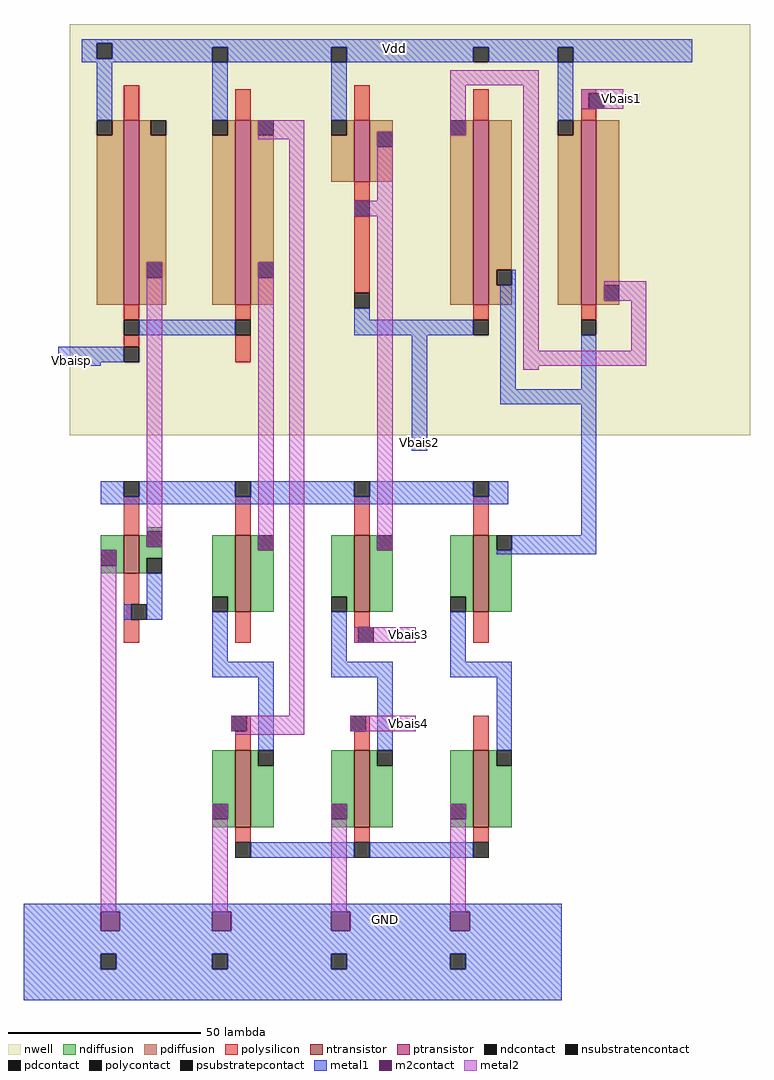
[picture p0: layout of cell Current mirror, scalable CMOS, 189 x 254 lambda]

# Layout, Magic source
magic
tech scmos
<< nwell >>
rect -48 11 129 118
<< ntransistor >>
rect -34 -25 -30 -15
rect -5 -35 -1 -15
rect 26 -35 30 -15
rect 57 -35 61 -15
rect -5 -91 -1 -71
rect 26 -91 30 -71
rect 57 -91 61 -71
<< ptransistor >>
rect -34 45 -30 93
rect -5 45 -1 93
rect 26 77 30 93
rect 57 45 61 93
rect 85 45 89 93
<< ndiffusion >>
rect -28 -14 -24 -13
rect -40 -19 -34 -15
rect -36 -23 -34 -19
rect -40 -25 -34 -23
rect -30 -18 -28 -15
rect -30 -21 -24 -18
rect -30 -25 -28 -21
rect -11 -31 -5 -15
rect -7 -35 -5 -31
rect -1 -19 1 -15
rect -1 -35 5 -19
rect 20 -31 26 -15
rect 24 -35 26 -31
rect 30 -19 32 -15
rect 30 -35 36 -19
rect 51 -31 57 -15
rect 55 -35 57 -31
rect 61 -19 63 -15
rect 61 -35 67 -19
rect -11 -85 -5 -71
rect -7 -89 -5 -85
rect -11 -91 -5 -89
rect -1 -75 1 -71
rect -1 -91 5 -75
rect 20 -85 26 -71
rect 24 -89 26 -85
rect 20 -91 26 -89
rect 30 -75 32 -71
rect 30 -91 36 -75
rect 51 -85 57 -71
rect 55 -89 57 -85
rect 51 -91 57 -89
rect 61 -75 63 -71
rect 61 -91 67 -75
<< pdiffusion >>
rect -37 89 -34 93
rect -41 45 -34 89
rect -30 89 -27 93
rect -30 56 -23 89
rect -30 52 -28 56
rect -24 52 -23 56
rect -30 45 -23 52
rect -7 89 -5 93
rect -11 45 -5 89
rect -1 89 1 93
rect -1 56 5 89
rect 24 89 26 93
rect 20 77 26 89
rect 30 90 36 93
rect 30 86 32 90
rect 30 77 36 86
rect 55 89 57 93
rect -1 52 1 56
rect -1 45 5 52
rect 51 45 57 89
rect 61 54 67 93
rect 61 50 63 54
rect 61 45 67 50
rect 83 89 85 93
rect 79 45 85 89
rect 89 50 95 93
rect 89 46 91 50
rect 89 45 95 46
<< ndcontact >>
rect -40 -23 -36 -19
rect -28 -18 -24 -14
rect -28 -25 -24 -21
rect -11 -35 -7 -31
rect 1 -19 5 -15
rect 20 -35 24 -31
rect 32 -19 36 -15
rect 51 -35 55 -31
rect 63 -19 67 -15
rect -11 -89 -7 -85
rect 1 -75 5 -71
rect 20 -89 24 -85
rect 32 -75 36 -71
rect 51 -89 55 -85
rect 63 -75 67 -71
<< pdcontact >>
rect -41 89 -37 93
rect -27 89 -23 93
rect -28 52 -24 56
rect -11 89 -7 93
rect 1 89 5 93
rect 20 89 24 93
rect 32 86 36 90
rect 51 89 55 93
rect 1 52 5 56
rect 63 50 67 54
rect 79 89 83 93
rect 91 46 95 50
<< psubstratepcontact >>
rect -40 -128 -36 -124
rect -11 -128 -7 -124
rect 20 -128 24 -124
rect 51 -128 55 -124
<< nsubstratencontact >>
rect -41 109 -37 113
rect -11 108 -7 112
rect 20 108 24 112
rect 57 108 61 112
rect 79 108 83 112
<< polysilicon >>
rect -34 93 -30 102
rect -5 93 -1 101
rect 26 93 30 102
rect 57 93 61 101
rect 85 100 89 101
rect 85 96 87 100
rect 85 93 89 96
rect 26 72 30 77
rect 26 48 30 68
rect -34 41 -30 45
rect -34 34 -30 37
rect -5 41 -1 45
rect 57 41 61 45
rect 85 41 89 45
rect -5 30 -1 37
rect -34 -15 -30 -5
rect -5 -15 -1 -5
rect 26 -15 30 -5
rect 57 -15 61 -5
rect -34 -33 -30 -25
rect -34 -37 -32 -33
rect -34 -43 -30 -37
rect -5 -43 -1 -35
rect 26 -39 30 -35
rect 26 -43 27 -39
rect 57 -43 61 -35
rect -2 -66 -1 -62
rect 29 -66 30 -62
rect -5 -71 -1 -66
rect 26 -71 30 -66
rect 57 -71 61 -62
rect -5 -95 -1 -91
rect 26 -95 30 -91
rect 57 -95 61 -91
<< polycontact >>
rect 87 96 91 100
rect 26 68 30 72
rect -34 37 -30 41
rect -34 30 -30 34
rect 26 44 30 48
rect -5 37 -1 41
rect 57 37 61 41
rect 85 37 89 41
rect -34 -5 -30 -1
rect -5 -5 -1 -1
rect 26 -5 30 -1
rect 57 -5 61 -1
rect -32 -37 -28 -33
rect 27 -43 31 -39
rect -6 -66 -2 -62
rect 25 -66 29 -62
rect -5 -99 -1 -95
rect 26 -99 30 -95
rect 57 -99 61 -95
<< metal1 >>
rect -45 113 114 114
rect -45 109 -41 113
rect -37 112 114 113
rect -37 109 -11 112
rect -45 108 -11 109
rect -7 108 20 112
rect 24 108 57 112
rect 61 108 79 112
rect 83 108 114 112
rect -41 93 -37 108
rect -11 93 -7 108
rect 20 93 24 108
rect 79 93 83 108
rect 67 50 68 54
rect 26 41 30 44
rect -30 37 -5 41
rect 26 37 57 41
rect -51 30 -34 34
rect -51 29 -40 30
rect 41 7 45 37
rect 64 23 68 50
rect 85 23 89 37
rect 64 19 89 23
rect -40 -5 -34 -1
rect -30 -5 -5 -1
rect -1 -5 26 -1
rect 30 -5 57 -1
rect 61 -5 66 -1
rect -40 -7 66 -5
rect 85 -15 89 19
rect 67 -19 89 -15
rect 63 -20 89 -19
rect -34 -37 -32 -33
rect -28 -37 -24 -25
rect -11 -48 -7 -35
rect 20 -48 24 -35
rect 51 -48 55 -35
rect -11 -52 5 -48
rect 20 -52 36 -48
rect 51 -52 67 -48
rect 1 -71 5 -52
rect 32 -71 36 -52
rect 63 -71 67 -52
rect -1 -99 26 -95
rect 30 -99 57 -95
rect -60 -113 80 -111
rect -60 -118 -40 -113
rect -35 -118 -11 -113
rect -6 -118 20 -113
rect 25 -118 51 -113
rect 56 -118 80 -113
rect -60 -124 80 -118
rect -60 -128 -40 -124
rect -36 -128 -11 -124
rect -7 -128 20 -124
rect 24 -128 51 -124
rect 55 -128 80 -124
rect -60 -136 80 -128
<< m2contact >>
rect -40 -118 -35 -113
rect -11 -118 -6 -113
rect 20 -118 25 -113
rect 51 -118 56 -113
<< metal2 >>
rect 51 102 74 106
rect 1 88 13 93
rect -28 -18 -24 56
rect 1 -19 5 56
rect -40 -113 -36 -19
rect 9 -62 13 88
rect 32 72 36 90
rect 51 89 55 102
rect 26 68 36 72
rect 32 -19 36 68
rect 70 33 74 102
rect 85 96 96 101
rect 91 46 102 51
rect 98 33 102 46
rect 70 29 102 33
rect 70 28 74 29
rect 26 -43 42 -39
rect -6 -66 13 -62
rect 25 -66 42 -62
rect -5 -67 13 -66
rect -11 -113 -7 -85
rect 20 -113 24 -85
rect 51 -113 55 -85
<< labels >>
flabel metal2 38 -43 42 -39 0 FreeSans 18 0 0 0 Vbais3
flabel metal2 38 -66 42 -62 0 FreeSans 18 0 0 0 Vbais4
flabel metal1 32 -117 36 -113 0 FreeSans 18 0 0 0 GND
flabel space -50 28 -45 33 0 FreeSans 18 0 0 0 Vbaisp
flabel nwell 93 96 98 101 0 FreeSans 18 0 0 0 Vbais1
flabel metal1 34 109 39 114 0 FreeSans 18 0 0 0 Vdd
flabel metal1 41 7 45 11 0 FreeSans 18 0 0 0 Vbais2
<< end >>
